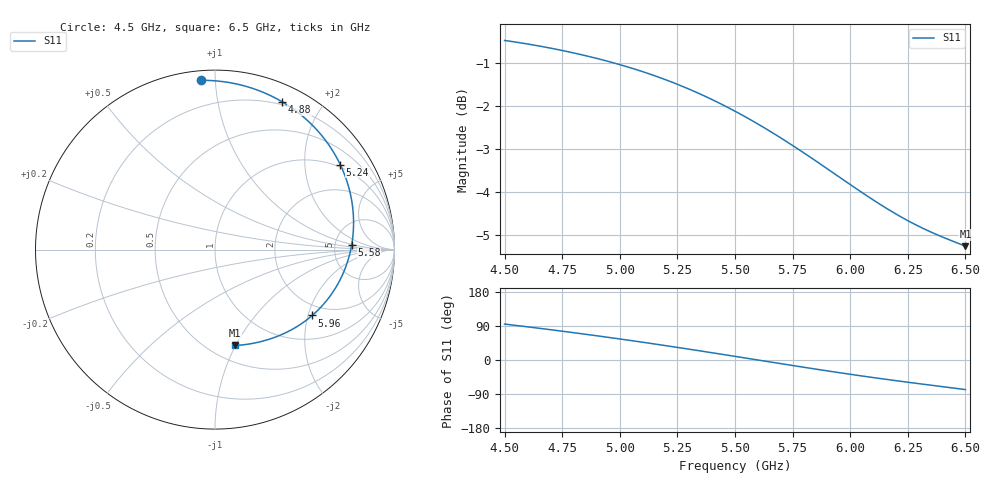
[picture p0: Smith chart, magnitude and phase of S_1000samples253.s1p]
! TOUCHSTONE file generated by CST MICROWAVE STUDIO
! Date and time: Thu Oct 27 13:00:06 2022
! Project name: L.cst
! Parameters = {Di=1.27; Epsilon_r=1.56; InnerDiameter=1.27; Length=2; Lf=10; Lg=60; OuterConductorThickness=0.2921; OuterDiameter=3.6; Wf=3; Wp=41.2; de=1.5; df=6.8; g=0.8; gx=1.10544; gy=4.92369; h=2.34; hf=1.524; px=9.35926; py=12.971; w=9.7; wx=8.25382; wy=8.04735}
! Header version: 2018
! Port assignment regex: !\s*Touchstone port\s*([0-9]+)\s*=\s*(CST MWS port|CST DS port)\s*([0-9]+|Zmin|Zmax)\s*\(\"(.*)\"\)(\s*mode\s*([0-9]+))?.*
! Touchstone port assignment:
! Touchstone port 1 = CST MWS port 1 ("")
# GHz S DB R 50
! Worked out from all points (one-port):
!   101 points, 4.5 GHz to 6.5 GHz, reference 50 ohm
!   lowest |S11| = -5.3 dB at 6.5 GHz (marker M1), VSWR 3.40, Z = 32.8 - j49.8 ohm
!   |S11| at or under -10 dB: nowhere
!   S11 on the Smith chart (normalised r, x): 4.5 GHz: 0.05, +0.92; 4.88 GHz: 0.17, +1.54; 5.24 GHz: 0.92, +3.00; 5.58 GHz: 7.29, +0.86; 5.96 GHz: 1.66, -2.13; 6.5 GHz: 0.66, -1.00
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4.5  -0.48 94.8
4.58  -0.55 89.0
4.64  -0.60 84.5
4.7  -0.66 79.9
4.76  -0.73 75.2
4.82  -0.80 70.4
4.88  -0.87 65.6
4.94  -0.95 60.6
5  -1.04 55.5
5.12  -1.24 45.0
5.18  -1.36 39.6
5.24  -1.48 34.2
5.26  -1.52 32.3
5.32  -1.66 26.7
5.38  -1.80 21.1
5.44  -1.96 15.3
5.5  -2.13 9.6
5.58  -2.36 1.9
5.66  -2.62 -5.9
5.76  -2.96 -15.5
5.86  -3.32 -24.9
5.96  -3.69 -34.1
6  -3.83 -37.7
6.12  -4.26 -48.0
6.18  -4.46 -53.0
6.26  -4.70 -59.4
6.38  -5.01 -68.8
6.5  -5.27 -78.1
